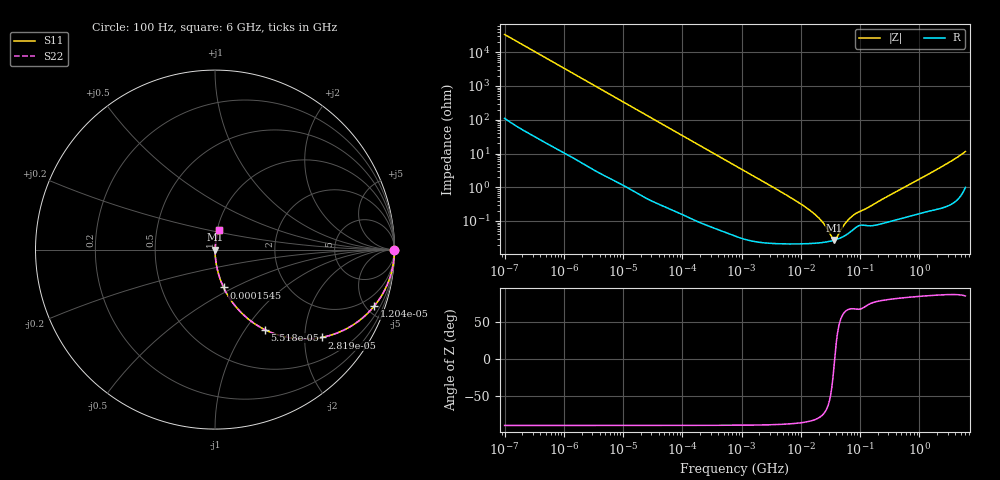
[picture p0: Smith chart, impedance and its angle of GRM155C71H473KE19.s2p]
!Murata Part Number: GRM155C71H473KE19
!These Parameters are Measured in Series Mode Connection
!Data Generated on Mar 30, 2021
!  o--ll--o
!Port1  Port2
!  o------o
!Operation Temp=25[degC], DC Bias Voltage=0[V]
!Freq. Start=100[Hz] Stop=6[GHz] 401[Steps]
# Hz S RI R 50
!Freq.(Hz) S11(Real) S11(Imag) S21(Real) S21(Imag) S12(Real) S12(Imag) S22(Real) S22(Imag)
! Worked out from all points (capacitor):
!   401 points, 100 Hz to 6 GHz, reference 50 ohm
!   read as one part in series: C = 47.2 nF near 109 Hz
!   lowest |Z| = 27.3 mohm at 36.42 MHz (marker M1)
!   series resonance near 37.3 MHz, so ESL is about 390 pH
!   S11 on the Smith chart (normalised r, x): 100 Hz: open; 12.04 kHz: 1.02, -5.65; 28.19 kHz: 1.01, -2.42; 55.18 kHz: 1.00, -1.24; 154.5 kHz: 1.00, -0.44; 6 GHz: 1.02, +0.23
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100  1 -0.00297  1.85e-05 0.00297  1.85e-05 0.00297  1 -0.00297
2008  0.9963 -0.059  0.00368 0.059  0.00368 0.059  0.9963 -0.059
5143  0.9771 -0.1479  0.0229 0.1479  0.0229 0.1479  0.9771 -0.1479
12041  0.8879 -0.3138  0.1121 0.3138  0.1121 0.3138  0.8879 -0.3138
18016  0.7806 -0.4122  0.2194 0.4122  0.2194 0.4122  0.7806 -0.4122
28191  0.5935 -0.4894  0.4065 0.4894  0.4065 0.4894  0.5935 -0.4894
40335  0.4173 -0.4913  0.5827 0.4913  0.5827 0.4913  0.4173 -0.4913
55182  0.2776 -0.4458  0.7224 0.4458  0.7224 0.4458  0.2776 -0.4458
90302  0.1264 -0.3301  0.8736 0.3301  0.8736 0.3301  0.1264 -0.3301
154540  0.0477 -0.2107  0.9523 0.2107  0.9523 0.2107  0.0477 -0.2107
774597  0.00232 -0.0443  0.9977 0.0443  0.9977 0.0443  0.00232 -0.0443
6353432  0.000238 -0.00526  0.9998 0.00526  0.9998 0.00526  0.000238 -0.00526
1.555665e7  0.00022 -0.00183  0.9998 0.00183  0.9998 0.00183  0.00022 -0.00183
2.327686e7  0.000232 -0.000902  0.9998 0.000902  0.9998 0.000902  0.000232 -0.000902
3.330331e7  0.000259 -0.000209  0.9997 0.000209  0.9997 0.000209  0.000259 -0.000209
3.64232e7  0.00027 -4.33e-05  0.9997 4.33e-05  0.9997 4.33e-05  0.00027 -4.33e-05
3.983537e7  0.000283 0.000121  0.9997 -0.000121  0.9997 -0.000121  0.000283 0.000121
5.449875e7  0.000362 0.000708  0.9996 -0.000708  0.9996 -0.000708  0.000362 0.000708
7.455971e7  0.000536 0.00132  0.9995 -0.00132  0.9995 -0.00132  0.000536 0.00132
3.124326e8  0.000986 0.00567  0.999 -0.00567  0.999 -0.00567  0.000986 0.00567
2.048624e9  0.00344 0.0347  0.9966 -0.0347  0.9966 -0.0347  0.00344 0.0347
6e9  0.0224 0.1108  0.9776 -0.1108  0.9776 -0.1108  0.0224 0.1108
